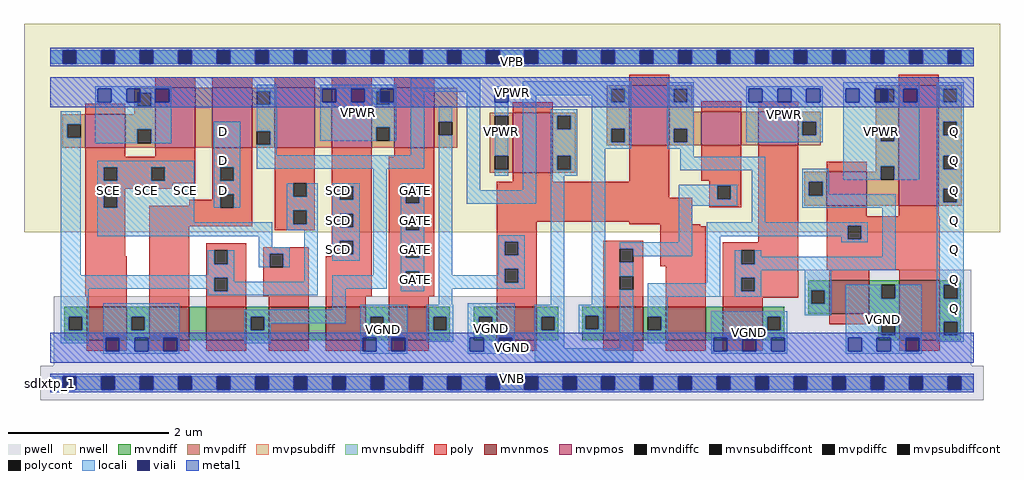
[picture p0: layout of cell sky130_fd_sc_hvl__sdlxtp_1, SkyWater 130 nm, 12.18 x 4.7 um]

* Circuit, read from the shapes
.subckt sky130_fd_sc_hvl__sdlxtp_1 D GATE SCD SCE VGND VNB VPB VPWR Q
XM1 VGND SCE n1 VNB sky130_fd_pr__nfet_g5v0d10v5 w=0.42 l=0.5
XM2 n2 D VGND VNB sky130_fd_pr__nfet_g5v0d10v5 w=0.42 l=0.5
XM3 n3 n1 n2 VNB sky130_fd_pr__nfet_g5v0d10v5 w=0.42 l=0.5
XM4 n4 SCE n3 VNB sky130_fd_pr__nfet_g5v0d10v5 w=0.42 l=0.5
XM5 VGND SCD n4 VNB sky130_fd_pr__nfet_g5v0d10v5 w=0.42 l=0.5
XM6 n5 GATE VGND VNB sky130_fd_pr__nfet_g5v0d10v5 w=0.42 l=0.5
XM7 n6 n5 VGND VNB sky130_fd_pr__nfet_g5v0d10v5 w=0.42 l=0.5
XM8 n7 n6 n3 VNB sky130_fd_pr__nfet_g5v0d10v5 w=0.42 l=0.5
XM9 n8 n5 n7 VNB sky130_fd_pr__nfet_g5v0d10v5 w=0.42 l=0.5
XM10 VGND n9 n8 VNB sky130_fd_pr__nfet_g5v0d10v5 w=0.42 l=0.5
XM11 VGND n7 n9 VNB sky130_fd_pr__nfet_g5v0d10v5 w=0.42 l=0.5
XM12 Q n7 VGND VNB sky130_fd_pr__nfet_g5v0d10v5 w=0.75 l=0.5
XM13 VPWR SCE n1 VPB sky130_fd_pr__pfet_g5v0d10v5 w=0.42 l=0.5
XM14 n10 SCE VPWR VPB sky130_fd_pr__pfet_g5v0d10v5 w=0.75 l=0.5
XM15 n3 D n10 VPB sky130_fd_pr__pfet_g5v0d10v5 w=0.75 l=0.5
XM16 n11 n1 n3 VPB sky130_fd_pr__pfet_g5v0d10v5 w=0.75 l=0.5
XM17 VPWR SCD n11 VPB sky130_fd_pr__pfet_g5v0d10v5 w=0.75 l=0.5
XM18 n5 GATE VPWR VPB sky130_fd_pr__pfet_g5v0d10v5 w=0.75 l=0.5
XM19 n6 n5 VPWR VPB sky130_fd_pr__pfet_g5v0d10v5 w=0.75 l=0.5
XM20 n7 n5 n3 VPB sky130_fd_pr__pfet_g5v0d10v5 w=0.75 l=0.5
XM21 n12 n6 n7 VPB sky130_fd_pr__pfet_g5v0d10v5 w=0.42 l=0.5
XM22 VPWR n9 n12 VPB sky130_fd_pr__pfet_g5v0d10v5 w=0.42 l=0.5
XM23 VPWR n7 n9 VPB sky130_fd_pr__pfet_g5v0d10v5 w=0.42 l=0.5
XM24 Q n7 VPWR VPB sky130_fd_pr__pfet_g5v0d10v5 w=1.5 l=0.5
.ends

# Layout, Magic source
magic
tech sky130A
magscale 1 2
<< nwell >>
rect -66 377 2370 897
<< pwell >>
rect 1865 217 2298 283
rect 8 43 2298 217
rect -26 -43 2330 43
<< mvnmos >>
rect 91 107 191 191
rect 247 107 347 191
rect 389 107 489 191
rect 545 107 645 191
rect 687 107 787 191
rect 844 107 944 191
rect 1114 107 1214 191
rect 1380 107 1480 191
rect 1536 107 1636 191
rect 1678 107 1778 191
rect 1944 173 2044 257
rect 2119 107 2219 257
<< mvpmos >>
rect 87 587 187 671
rect 262 587 362 737
rect 404 587 504 737
rect 560 587 660 737
rect 702 587 802 737
rect 858 587 958 737
rect 1154 525 1254 675
rect 1445 593 1545 743
rect 1624 593 1724 677
rect 1766 593 1866 677
rect 1938 443 2038 527
rect 2117 443 2217 743
<< mvndiff >>
rect 1891 232 1944 257
rect 1891 198 1899 232
rect 1933 198 1944 232
rect 34 166 91 191
rect 34 132 46 166
rect 80 132 91 166
rect 34 107 91 132
rect 191 166 247 191
rect 191 132 202 166
rect 236 132 247 166
rect 191 107 247 132
rect 347 107 389 191
rect 489 166 545 191
rect 489 132 500 166
rect 534 132 545 166
rect 489 107 545 132
rect 645 107 687 191
rect 787 166 844 191
rect 787 132 798 166
rect 832 132 844 166
rect 787 107 844 132
rect 944 166 997 191
rect 944 132 955 166
rect 989 132 997 166
rect 944 107 997 132
rect 1057 166 1114 191
rect 1057 132 1069 166
rect 1103 132 1114 166
rect 1057 107 1114 132
rect 1214 166 1267 191
rect 1214 132 1225 166
rect 1259 132 1267 166
rect 1214 107 1267 132
rect 1327 168 1380 191
rect 1327 134 1335 168
rect 1369 134 1380 168
rect 1327 107 1380 134
rect 1480 166 1536 191
rect 1480 132 1491 166
rect 1525 132 1536 166
rect 1480 107 1536 132
rect 1636 107 1678 191
rect 1778 166 1831 191
rect 1891 173 1944 198
rect 2044 245 2119 257
rect 2044 211 2074 245
rect 2108 211 2119 245
rect 2044 173 2119 211
rect 1778 132 1789 166
rect 1823 132 1831 166
rect 2066 153 2119 173
rect 1778 107 1831 132
rect 2066 119 2074 153
rect 2108 119 2119 153
rect 2066 107 2119 119
rect 2219 245 2272 257
rect 2219 211 2230 245
rect 2264 211 2272 245
rect 2219 153 2272 211
rect 2219 119 2230 153
rect 2264 119 2272 153
rect 2219 107 2272 119
<< mvpdiff >>
rect 209 725 262 737
rect 209 691 217 725
rect 251 691 262 725
rect 209 671 262 691
rect 30 646 87 671
rect 30 612 42 646
rect 76 612 87 646
rect 30 587 87 612
rect 187 633 262 671
rect 187 599 217 633
rect 251 599 262 633
rect 187 587 262 599
rect 362 587 404 737
rect 504 729 560 737
rect 504 695 515 729
rect 549 695 560 729
rect 504 629 560 695
rect 504 595 515 629
rect 549 595 560 629
rect 504 587 560 595
rect 660 587 702 737
rect 802 729 858 737
rect 802 695 813 729
rect 847 695 858 729
rect 802 639 858 695
rect 802 605 813 639
rect 847 605 858 639
rect 802 587 858 605
rect 958 652 1015 737
rect 1388 735 1445 743
rect 1388 701 1400 735
rect 1434 701 1445 735
rect 958 618 969 652
rect 1003 618 1015 652
rect 958 587 1015 618
rect 1097 667 1154 675
rect 1097 633 1109 667
rect 1143 633 1154 667
rect 1097 567 1154 633
rect 1097 533 1109 567
rect 1143 533 1154 567
rect 1097 525 1154 533
rect 1254 667 1311 675
rect 1254 633 1265 667
rect 1299 633 1311 667
rect 1254 567 1311 633
rect 1388 635 1445 701
rect 1388 601 1400 635
rect 1434 601 1445 635
rect 1388 593 1445 601
rect 1545 735 1602 743
rect 1545 701 1556 735
rect 1590 701 1602 735
rect 2060 735 2117 743
rect 1545 677 1602 701
rect 2060 701 2072 735
rect 2106 701 2117 735
rect 1545 635 1624 677
rect 1545 601 1556 635
rect 1590 601 1624 635
rect 1545 593 1624 601
rect 1724 593 1766 677
rect 1866 652 1923 677
rect 1866 618 1877 652
rect 1911 618 1923 652
rect 1866 593 1923 618
rect 2060 638 2117 701
rect 2060 604 2072 638
rect 2106 604 2117 638
rect 1254 533 1265 567
rect 1299 533 1311 567
rect 1254 525 1311 533
rect 2060 541 2117 604
rect 2060 527 2072 541
rect 1881 502 1938 527
rect 1881 468 1893 502
rect 1927 468 1938 502
rect 1881 443 1938 468
rect 2038 507 2072 527
rect 2106 507 2117 541
rect 2038 443 2117 507
rect 2217 735 2274 743
rect 2217 701 2228 735
rect 2262 701 2274 735
rect 2217 652 2274 701
rect 2217 618 2228 652
rect 2262 618 2274 652
rect 2217 568 2274 618
rect 2217 534 2228 568
rect 2262 534 2274 568
rect 2217 485 2274 534
rect 2217 451 2228 485
rect 2262 451 2274 485
rect 2217 443 2274 451
<< mvndiffc >>
rect 1899 198 1933 232
rect 46 132 80 166
rect 202 132 236 166
rect 500 132 534 166
rect 798 132 832 166
rect 955 132 989 166
rect 1069 132 1103 166
rect 1225 132 1259 166
rect 1335 134 1369 168
rect 1491 132 1525 166
rect 2074 211 2108 245
rect 1789 132 1823 166
rect 2074 119 2108 153
rect 2230 211 2264 245
rect 2230 119 2264 153
<< mvpdiffc >>
rect 217 691 251 725
rect 42 612 76 646
rect 217 599 251 633
rect 515 695 549 729
rect 515 595 549 629
rect 813 695 847 729
rect 813 605 847 639
rect 1400 701 1434 735
rect 969 618 1003 652
rect 1109 633 1143 667
rect 1109 533 1143 567
rect 1265 633 1299 667
rect 1400 601 1434 635
rect 1556 701 1590 735
rect 2072 701 2106 735
rect 1556 601 1590 635
rect 1877 618 1911 652
rect 2072 604 2106 638
rect 1265 533 1299 567
rect 1893 468 1927 502
rect 2072 507 2106 541
rect 2228 701 2262 735
rect 2228 618 2262 652
rect 2228 534 2262 568
rect 2228 451 2262 485
<< mvpsubdiff >>
rect 0 -17 31 17
rect 65 -17 127 17
rect 161 -17 223 17
rect 257 -17 319 17
rect 353 -17 415 17
rect 449 -17 511 17
rect 545 -17 607 17
rect 641 -17 703 17
rect 737 -17 799 17
rect 833 -17 895 17
rect 929 -17 991 17
rect 1025 -17 1087 17
rect 1121 -17 1183 17
rect 1217 -17 1279 17
rect 1313 -17 1375 17
rect 1409 -17 1471 17
rect 1505 -17 1567 17
rect 1601 -17 1663 17
rect 1697 -17 1759 17
rect 1793 -17 1855 17
rect 1889 -17 1951 17
rect 1985 -17 2047 17
rect 2081 -17 2143 17
rect 2177 -17 2239 17
rect 2273 -17 2304 17
<< mvnsubdiff >>
rect 0 797 31 831
rect 65 797 127 831
rect 161 797 223 831
rect 257 797 319 831
rect 353 797 415 831
rect 449 797 511 831
rect 545 797 607 831
rect 641 797 703 831
rect 737 797 799 831
rect 833 797 895 831
rect 929 797 991 831
rect 1025 797 1087 831
rect 1121 797 1183 831
rect 1217 797 1279 831
rect 1313 797 1375 831
rect 1409 797 1471 831
rect 1505 797 1567 831
rect 1601 797 1663 831
rect 1697 797 1759 831
rect 1793 797 1855 831
rect 1889 797 1951 831
rect 1985 797 2047 831
rect 2081 797 2143 831
rect 2177 797 2239 831
rect 2273 797 2304 831
<< mvpsubdiffcont >>
rect 31 -17 65 17
rect 127 -17 161 17
rect 223 -17 257 17
rect 319 -17 353 17
rect 415 -17 449 17
rect 511 -17 545 17
rect 607 -17 641 17
rect 703 -17 737 17
rect 799 -17 833 17
rect 895 -17 929 17
rect 991 -17 1025 17
rect 1087 -17 1121 17
rect 1183 -17 1217 17
rect 1279 -17 1313 17
rect 1375 -17 1409 17
rect 1471 -17 1505 17
rect 1567 -17 1601 17
rect 1663 -17 1697 17
rect 1759 -17 1793 17
rect 1855 -17 1889 17
rect 1951 -17 1985 17
rect 2047 -17 2081 17
rect 2143 -17 2177 17
rect 2239 -17 2273 17
<< mvnsubdiffcont >>
rect 31 797 65 831
rect 127 797 161 831
rect 223 797 257 831
rect 319 797 353 831
rect 415 797 449 831
rect 511 797 545 831
rect 607 797 641 831
rect 703 797 737 831
rect 799 797 833 831
rect 895 797 929 831
rect 991 797 1025 831
rect 1087 797 1121 831
rect 1183 797 1217 831
rect 1279 797 1313 831
rect 1375 797 1409 831
rect 1471 797 1505 831
rect 1567 797 1601 831
rect 1663 797 1697 831
rect 1759 797 1793 831
rect 1855 797 1889 831
rect 1951 797 1985 831
rect 2047 797 2081 831
rect 2143 797 2177 831
rect 2239 797 2273 831
<< poly >>
rect 262 737 362 763
rect 404 737 504 763
rect 560 737 660 763
rect 702 737 802 763
rect 858 737 958 763
rect 1445 743 1545 769
rect 2117 743 2217 769
rect 87 671 187 697
rect 1154 675 1254 701
rect 87 565 187 587
rect 262 565 362 587
rect 87 539 362 565
rect 87 505 133 539
rect 167 505 251 539
rect 285 505 362 539
rect 87 499 362 505
rect 404 539 504 587
rect 404 505 424 539
rect 458 505 504 539
rect 87 485 305 499
rect 87 471 187 485
rect 87 437 133 471
rect 167 437 187 471
rect 404 471 504 505
rect 404 457 424 471
rect 347 443 424 457
rect 87 317 187 437
rect 247 437 424 443
rect 458 437 504 471
rect 247 391 504 437
rect 560 499 660 587
rect 560 465 606 499
rect 640 465 660 499
rect 560 431 660 465
rect 560 397 606 431
rect 640 397 660 431
rect 87 217 191 317
rect 91 191 191 217
rect 247 191 347 391
rect 560 381 660 397
rect 702 491 802 587
rect 858 565 958 587
rect 702 457 722 491
rect 756 457 802 491
rect 702 423 802 457
rect 702 389 722 423
rect 756 389 802 423
rect 702 355 802 389
rect 389 331 489 349
rect 389 297 409 331
rect 443 297 489 331
rect 389 263 489 297
rect 389 229 409 263
rect 443 229 489 263
rect 389 191 489 229
rect 531 323 645 339
rect 531 289 547 323
rect 581 289 645 323
rect 702 321 722 355
rect 756 321 802 355
rect 702 317 802 321
rect 531 217 645 289
rect 545 191 645 217
rect 687 217 802 317
rect 844 483 958 565
rect 1624 677 1724 703
rect 1766 677 1866 703
rect 1154 503 1254 525
rect 1445 503 1545 593
rect 1624 505 1724 593
rect 844 449 887 483
rect 921 449 958 483
rect 844 415 958 449
rect 844 381 887 415
rect 921 381 958 415
rect 844 347 958 381
rect 844 313 887 347
rect 921 313 958 347
rect 844 279 958 313
rect 844 245 887 279
rect 921 245 958 279
rect 844 217 958 245
rect 1114 463 1545 503
rect 1644 493 1724 505
rect 1114 403 1602 463
rect 1644 459 1664 493
rect 1698 459 1724 493
rect 1644 439 1724 459
rect 1114 353 1214 403
rect 1445 397 1602 403
rect 1522 391 1622 397
rect 1114 319 1134 353
rect 1168 319 1214 353
rect 1114 285 1214 319
rect 1114 251 1134 285
rect 1168 251 1214 285
rect 687 191 787 217
rect 844 191 944 217
rect 1114 191 1214 251
rect 1380 335 1480 355
rect 1380 301 1421 335
rect 1455 301 1480 335
rect 1380 267 1480 301
rect 1522 291 1636 391
rect 1766 351 1866 593
rect 1938 527 2038 553
rect 1380 233 1421 267
rect 1455 233 1480 267
rect 1380 191 1480 233
rect 1536 191 1636 291
rect 1678 331 1866 351
rect 1678 297 1724 331
rect 1758 297 1866 331
rect 1678 263 1866 297
rect 1938 417 2038 443
rect 2117 417 2217 443
rect 1938 393 2219 417
rect 1938 359 1990 393
rect 2024 359 2219 393
rect 1938 283 2219 359
rect 1678 229 1724 263
rect 1758 229 1866 263
rect 1944 257 2044 283
rect 2119 257 2219 283
rect 1678 213 1866 229
rect 1678 191 1778 213
rect 1944 147 2044 173
rect 91 81 191 107
rect 247 81 347 107
rect 389 81 489 107
rect 545 81 645 107
rect 687 81 787 107
rect 844 81 944 107
rect 1114 81 1214 107
rect 1380 81 1480 107
rect 1536 81 1636 107
rect 1678 81 1778 107
rect 2119 81 2219 107
<< polycont >>
rect 133 505 167 539
rect 251 505 285 539
rect 424 505 458 539
rect 133 437 167 471
rect 424 437 458 471
rect 606 465 640 499
rect 606 397 640 431
rect 722 457 756 491
rect 722 389 756 423
rect 409 297 443 331
rect 409 229 443 263
rect 547 289 581 323
rect 722 321 756 355
rect 887 449 921 483
rect 887 381 921 415
rect 887 313 921 347
rect 887 245 921 279
rect 1664 459 1698 493
rect 1134 319 1168 353
rect 1134 251 1168 285
rect 1421 301 1455 335
rect 1421 233 1455 267
rect 1724 297 1758 331
rect 1990 359 2024 393
rect 1724 229 1758 263
<< locali >>
rect 0 797 31 831
rect 65 797 127 831
rect 161 797 223 831
rect 257 797 319 831
rect 353 797 415 831
rect 449 797 511 831
rect 545 797 607 831
rect 641 797 703 831
rect 737 797 799 831
rect 833 797 895 831
rect 929 797 991 831
rect 1025 797 1087 831
rect 1121 797 1183 831
rect 1217 797 1279 831
rect 1313 797 1375 831
rect 1409 797 1471 831
rect 1505 797 1567 831
rect 1601 797 1663 831
rect 1697 797 1759 831
rect 1793 797 1855 831
rect 1889 797 1951 831
rect 1985 797 2047 831
rect 2081 797 2143 831
rect 2177 797 2239 831
rect 2273 797 2304 831
rect 112 735 302 741
rect 112 701 118 735
rect 152 701 190 735
rect 224 725 262 735
rect 251 701 262 725
rect 296 701 302 735
rect 112 691 217 701
rect 251 691 302 701
rect 26 646 76 679
rect 26 612 42 646
rect 26 269 76 612
rect 112 633 302 691
rect 515 729 565 745
rect 549 695 565 729
rect 112 599 217 633
rect 251 599 302 633
rect 117 539 359 555
rect 117 505 133 539
rect 167 505 251 539
rect 285 505 359 539
rect 117 471 359 505
rect 117 437 133 471
rect 167 437 359 471
rect 408 539 474 652
rect 408 505 424 539
rect 458 505 474 539
rect 515 629 565 695
rect 549 595 565 629
rect 673 735 863 745
rect 673 701 679 735
rect 713 701 751 735
rect 785 729 823 735
rect 785 701 813 729
rect 857 701 863 735
rect 673 695 813 701
rect 847 695 863 701
rect 673 639 863 695
rect 673 605 813 639
rect 847 605 863 639
rect 899 727 1073 761
rect 515 569 565 595
rect 899 569 933 727
rect 515 535 933 569
rect 969 652 1003 691
rect 408 471 474 505
rect 408 437 424 471
rect 458 437 474 471
rect 590 465 606 499
rect 640 465 667 499
rect 117 401 359 437
rect 590 431 667 465
rect 117 367 554 401
rect 590 397 606 431
rect 640 397 667 431
rect 590 381 667 397
rect 520 339 554 367
rect 393 297 409 331
rect 443 297 459 331
rect 393 269 459 297
rect 520 323 597 339
rect 520 289 547 323
rect 581 289 597 323
rect 26 263 459 269
rect 26 235 409 263
rect 26 166 96 235
rect 393 229 409 235
rect 443 253 459 263
rect 633 253 667 381
rect 703 491 772 499
rect 703 457 722 491
rect 756 457 772 491
rect 703 423 772 457
rect 703 389 722 423
rect 756 389 772 423
rect 703 355 772 389
rect 703 321 722 355
rect 756 321 772 355
rect 703 305 772 321
rect 806 269 840 535
rect 443 229 667 253
rect 393 219 667 229
rect 703 235 840 269
rect 874 483 933 499
rect 874 449 887 483
rect 921 449 933 483
rect 874 415 933 449
rect 874 381 887 415
rect 921 381 933 415
rect 874 347 933 381
rect 874 313 887 347
rect 921 313 933 347
rect 874 279 933 313
rect 874 245 887 279
rect 921 245 933 279
rect 26 132 46 166
rect 80 132 96 166
rect 26 99 96 132
rect 132 166 322 199
rect 703 183 737 235
rect 874 229 933 245
rect 969 269 1003 618
rect 1039 481 1073 727
rect 1109 735 1143 741
rect 1109 667 1143 701
rect 1109 567 1143 633
rect 1109 517 1143 533
rect 1179 735 1450 753
rect 1179 719 1400 735
rect 1179 481 1213 719
rect 1351 701 1400 719
rect 1434 701 1450 735
rect 1039 447 1213 481
rect 1249 667 1315 683
rect 1249 633 1265 667
rect 1299 633 1315 667
rect 1249 567 1315 633
rect 1249 533 1265 567
rect 1299 533 1315 567
rect 1249 517 1315 533
rect 1351 635 1450 701
rect 1351 601 1400 635
rect 1434 601 1450 635
rect 1351 585 1450 601
rect 1540 735 1606 751
rect 1540 701 1556 735
rect 1590 701 1606 735
rect 1540 635 1606 701
rect 1540 601 1556 635
rect 1590 601 1606 635
rect 1737 735 1927 741
rect 1737 701 1743 735
rect 1777 701 1815 735
rect 1849 701 1887 735
rect 1921 701 1927 735
rect 1737 652 1927 701
rect 1737 618 1877 652
rect 1911 618 1927 652
rect 1737 601 1927 618
rect 1979 735 2169 751
rect 1979 701 1985 735
rect 2019 701 2057 735
rect 2106 701 2129 735
rect 2163 701 2169 735
rect 1979 638 2169 701
rect 1979 604 2072 638
rect 2106 604 2169 638
rect 1540 585 1606 601
rect 1118 353 1184 369
rect 1118 319 1134 353
rect 1168 319 1184 353
rect 1118 285 1184 319
rect 1118 269 1134 285
rect 969 251 1134 269
rect 1168 251 1184 285
rect 969 235 1184 251
rect 969 195 1003 235
rect 132 132 202 166
rect 236 132 322 166
rect 132 113 322 132
rect 132 79 138 113
rect 172 79 210 113
rect 244 79 282 113
rect 316 79 322 113
rect 484 166 737 183
rect 484 132 500 166
rect 534 149 737 166
rect 773 166 891 195
rect 534 132 550 149
rect 484 99 550 132
rect 773 132 798 166
rect 832 132 891 166
rect 773 113 891 132
rect 132 73 322 79
rect 773 79 779 113
rect 813 79 851 113
rect 885 79 891 113
rect 939 166 1005 195
rect 939 132 955 166
rect 989 132 1005 166
rect 939 103 1005 132
rect 1041 166 1159 199
rect 1249 195 1283 517
rect 1351 195 1385 585
rect 1572 565 1606 585
rect 1572 531 1784 565
rect 1979 541 2169 604
rect 1568 493 1714 495
rect 1568 459 1664 493
rect 1698 459 1714 493
rect 1568 443 1714 459
rect 1568 351 1602 443
rect 1750 401 1784 531
rect 1877 502 1943 535
rect 1979 507 2072 541
rect 2106 507 2169 541
rect 2212 735 2280 751
rect 2212 701 2228 735
rect 2262 701 2280 735
rect 2212 652 2280 701
rect 2212 618 2228 652
rect 2262 618 2280 652
rect 2212 568 2280 618
rect 2212 534 2228 568
rect 2262 534 2280 568
rect 1877 468 1893 502
rect 1927 471 1943 502
rect 2212 485 2280 534
rect 1927 468 2110 471
rect 1877 437 2110 468
rect 1041 132 1069 166
rect 1103 132 1159 166
rect 1041 113 1159 132
rect 773 73 891 79
rect 1041 79 1047 113
rect 1081 79 1119 113
rect 1153 79 1159 113
rect 1041 73 1159 79
rect 1209 166 1283 195
rect 1209 132 1225 166
rect 1259 132 1283 166
rect 1209 87 1283 132
rect 1319 168 1385 195
rect 1319 134 1335 168
rect 1369 134 1385 168
rect 1319 123 1385 134
rect 1421 335 1602 351
rect 1455 317 1602 335
rect 1638 393 2040 401
rect 1638 367 1990 393
rect 1421 267 1455 301
rect 1638 249 1672 367
rect 1974 359 1990 367
rect 2024 359 2040 393
rect 1974 351 2040 359
rect 1421 87 1455 233
rect 1491 215 1672 249
rect 1708 297 1724 331
rect 1758 315 1774 331
rect 2076 315 2110 437
rect 1758 297 2110 315
rect 1708 281 2110 297
rect 2212 451 2228 485
rect 2262 451 2280 485
rect 1708 263 1774 281
rect 1708 229 1724 263
rect 1758 229 1774 263
rect 1708 215 1774 229
rect 1883 232 1949 281
rect 2212 245 2280 451
rect 1491 166 1541 215
rect 1883 198 1899 232
rect 1933 198 1949 232
rect 1525 132 1541 166
rect 1491 99 1541 132
rect 1649 166 1839 179
rect 1883 169 1949 198
rect 1985 211 2074 245
rect 2108 211 2175 245
rect 1649 132 1789 166
rect 1823 132 1839 166
rect 1649 113 1839 132
rect 1209 53 1455 87
rect 1649 79 1655 113
rect 1689 79 1727 113
rect 1761 79 1799 113
rect 1833 79 1839 113
rect 1649 73 1839 79
rect 1985 153 2175 211
rect 1985 119 2074 153
rect 2108 119 2175 153
rect 1985 113 2175 119
rect 1985 79 1991 113
rect 2025 79 2063 113
rect 2097 79 2135 113
rect 2169 79 2175 113
rect 2212 211 2230 245
rect 2264 211 2280 245
rect 2212 153 2280 211
rect 2212 119 2230 153
rect 2264 119 2280 153
rect 2212 103 2280 119
rect 1985 73 2175 79
rect 0 -17 31 17
rect 65 -17 127 17
rect 161 -17 223 17
rect 257 -17 319 17
rect 353 -17 415 17
rect 449 -17 511 17
rect 545 -17 607 17
rect 641 -17 703 17
rect 737 -17 799 17
rect 833 -17 895 17
rect 929 -17 991 17
rect 1025 -17 1087 17
rect 1121 -17 1183 17
rect 1217 -17 1279 17
rect 1313 -17 1375 17
rect 1409 -17 1471 17
rect 1505 -17 1567 17
rect 1601 -17 1663 17
rect 1697 -17 1759 17
rect 1793 -17 1855 17
rect 1889 -17 1951 17
rect 1985 -17 2047 17
rect 2081 -17 2143 17
rect 2177 -17 2239 17
rect 2273 -17 2304 17
<< viali >>
rect 31 797 65 831
rect 127 797 161 831
rect 223 797 257 831
rect 319 797 353 831
rect 415 797 449 831
rect 511 797 545 831
rect 607 797 641 831
rect 703 797 737 831
rect 799 797 833 831
rect 895 797 929 831
rect 991 797 1025 831
rect 1087 797 1121 831
rect 1183 797 1217 831
rect 1279 797 1313 831
rect 1375 797 1409 831
rect 1471 797 1505 831
rect 1567 797 1601 831
rect 1663 797 1697 831
rect 1759 797 1793 831
rect 1855 797 1889 831
rect 1951 797 1985 831
rect 2047 797 2081 831
rect 2143 797 2177 831
rect 2239 797 2273 831
rect 118 701 152 735
rect 190 725 224 735
rect 190 701 217 725
rect 217 701 224 725
rect 262 701 296 735
rect 679 701 713 735
rect 751 701 785 735
rect 823 729 857 735
rect 823 701 847 729
rect 847 701 857 729
rect 1109 701 1143 735
rect 1743 701 1777 735
rect 1815 701 1849 735
rect 1887 701 1921 735
rect 1985 701 2019 735
rect 2057 701 2072 735
rect 2072 701 2091 735
rect 2129 701 2163 735
rect 138 79 172 113
rect 210 79 244 113
rect 282 79 316 113
rect 779 79 813 113
rect 851 79 885 113
rect 1047 79 1081 113
rect 1119 79 1153 113
rect 1655 79 1689 113
rect 1727 79 1761 113
rect 1799 79 1833 113
rect 1991 79 2025 113
rect 2063 79 2097 113
rect 2135 79 2169 113
rect 31 -17 65 17
rect 127 -17 161 17
rect 223 -17 257 17
rect 319 -17 353 17
rect 415 -17 449 17
rect 511 -17 545 17
rect 607 -17 641 17
rect 703 -17 737 17
rect 799 -17 833 17
rect 895 -17 929 17
rect 991 -17 1025 17
rect 1087 -17 1121 17
rect 1183 -17 1217 17
rect 1279 -17 1313 17
rect 1375 -17 1409 17
rect 1471 -17 1505 17
rect 1567 -17 1601 17
rect 1663 -17 1697 17
rect 1759 -17 1793 17
rect 1855 -17 1889 17
rect 1951 -17 1985 17
rect 2047 -17 2081 17
rect 2143 -17 2177 17
rect 2239 -17 2273 17
<< metal1 >>
rect 0 831 2304 837
rect 0 797 31 831
rect 65 797 127 831
rect 161 797 223 831
rect 257 797 319 831
rect 353 797 415 831
rect 449 797 511 831
rect 545 797 607 831
rect 641 797 703 831
rect 737 797 799 831
rect 833 797 895 831
rect 929 797 991 831
rect 1025 797 1087 831
rect 1121 797 1183 831
rect 1217 797 1279 831
rect 1313 797 1375 831
rect 1409 797 1471 831
rect 1505 797 1567 831
rect 1601 797 1663 831
rect 1697 797 1759 831
rect 1793 797 1855 831
rect 1889 797 1951 831
rect 1985 797 2047 831
rect 2081 797 2143 831
rect 2177 797 2239 831
rect 2273 797 2304 831
rect 0 791 2304 797
rect 0 735 2304 763
rect 0 701 118 735
rect 152 701 190 735
rect 224 701 262 735
rect 296 701 679 735
rect 713 701 751 735
rect 785 701 823 735
rect 857 701 1109 735
rect 1143 701 1743 735
rect 1777 701 1815 735
rect 1849 701 1887 735
rect 1921 701 1985 735
rect 2019 701 2057 735
rect 2091 701 2129 735
rect 2163 701 2304 735
rect 0 689 2304 701
rect 0 113 2304 125
rect 0 79 138 113
rect 172 79 210 113
rect 244 79 282 113
rect 316 79 779 113
rect 813 79 851 113
rect 885 79 1047 113
rect 1081 79 1119 113
rect 1153 79 1655 113
rect 1689 79 1727 113
rect 1761 79 1799 113
rect 1833 79 1991 113
rect 2025 79 2063 113
rect 2097 79 2135 113
rect 2169 79 2304 113
rect 0 51 2304 79
rect 0 17 2304 23
rect 0 -17 31 17
rect 65 -17 127 17
rect 161 -17 223 17
rect 257 -17 319 17
rect 353 -17 415 17
rect 449 -17 511 17
rect 545 -17 607 17
rect 641 -17 703 17
rect 737 -17 799 17
rect 833 -17 895 17
rect 929 -17 991 17
rect 1025 -17 1087 17
rect 1121 -17 1183 17
rect 1217 -17 1279 17
rect 1313 -17 1375 17
rect 1409 -17 1471 17
rect 1505 -17 1567 17
rect 1601 -17 1663 17
rect 1697 -17 1759 17
rect 1793 -17 1855 17
rect 1889 -17 1951 17
rect 1985 -17 2047 17
rect 2081 -17 2143 17
rect 2177 -17 2239 17
rect 2273 -17 2304 17
rect 0 -23 2304 -17
<< labels >>
rlabel comment s 0 0 0 0 4 sdlxtp_1
flabel metal1 s 0 51 2304 125 0 FreeSans 340 0 0 0 VGND
port 5 nsew ground bidirectional
flabel metal1 s 0 0 2304 23 0 FreeSans 340 0 0 0 VNB
port 6 nsew ground bidirectional
flabel metal1 s 0 689 2304 763 0 FreeSans 340 0 0 0 VPWR
port 8 nsew power bidirectional
flabel metal1 s 0 791 2304 814 0 FreeSans 340 0 0 0 VPB
port 7 nsew power bidirectional
flabel locali s 415 464 449 498 0 FreeSans 340 0 0 0 D
port 1 nsew signal input
flabel locali s 415 538 449 572 0 FreeSans 340 0 0 0 D
port 1 nsew signal input
flabel locali s 415 612 449 646 0 FreeSans 340 0 0 0 D
port 1 nsew signal input
flabel locali s 127 464 161 498 0 FreeSans 340 0 0 0 SCE
port 4 nsew signal input
flabel locali s 223 464 257 498 0 FreeSans 340 0 0 0 SCE
port 4 nsew signal input
flabel locali s 319 464 353 498 0 FreeSans 340 0 0 0 SCE
port 4 nsew signal input
flabel locali s 703 316 737 350 0 FreeSans 340 0 0 0 SCD
port 3 nsew signal input
flabel locali s 703 390 737 424 0 FreeSans 340 0 0 0 SCD
port 3 nsew signal input
flabel locali s 703 464 737 498 0 FreeSans 340 0 0 0 SCD
port 3 nsew signal input
flabel locali s 895 242 929 276 0 FreeSans 340 0 0 0 GATE
port 2 nsew clock input
flabel locali s 895 316 929 350 0 FreeSans 340 0 0 0 GATE
port 2 nsew clock input
flabel locali s 895 390 929 424 0 FreeSans 340 0 0 0 GATE
port 2 nsew clock input
flabel locali s 895 464 929 498 0 FreeSans 340 0 0 0 GATE
port 2 nsew clock input
flabel locali s 2239 168 2273 202 0 FreeSans 340 0 0 0 Q
port 9 nsew signal output
flabel locali s 2239 242 2273 276 0 FreeSans 340 0 0 0 Q
port 9 nsew signal output
flabel locali s 2239 316 2273 350 0 FreeSans 340 0 0 0 Q
port 9 nsew signal output
flabel locali s 2239 390 2273 424 0 FreeSans 340 0 0 0 Q
port 9 nsew signal output
flabel locali s 2239 464 2273 498 0 FreeSans 340 0 0 0 Q
port 9 nsew signal output
flabel locali s 2239 538 2273 572 0 FreeSans 340 0 0 0 Q
port 9 nsew signal output
flabel locali s 2239 612 2273 646 0 FreeSans 340 0 0 0 Q
port 9 nsew signal output
rlabel locali s 773 73 891 195 1 VGND
port 5 nsew ground bidirectional
rlabel locali s 1041 73 1159 199 1 VGND
port 5 nsew ground bidirectional
rlabel locali s 1649 73 1839 179 1 VGND
port 5 nsew ground bidirectional
rlabel locali s 1985 73 2175 245 1 VGND
port 5 nsew ground bidirectional
rlabel metal1 s 0 51 2304 125 1 VGND
port 5 nsew ground bidirectional
rlabel metal1 s 0 -23 2304 23 1 VNB
port 6 nsew ground bidirectional
rlabel metal1 s 0 791 2304 837 1 VPB
port 7 nsew power bidirectional
rlabel locali s 673 605 863 745 1 VPWR
port 8 nsew power bidirectional
rlabel locali s 1109 517 1143 741 1 VPWR
port 8 nsew power bidirectional
rlabel locali s 1737 601 1927 741 1 VPWR
port 8 nsew power bidirectional
rlabel locali s 1979 507 2169 751 1 VPWR
port 8 nsew power bidirectional
rlabel metal1 s 0 689 2304 763 1 VPWR
port 8 nsew power bidirectional
<< properties >>
string FIXED_BBOX 0 0 2304 814
string GDS_END 719052
string GDS_FILE $PDKPATH/libs.ref/sky130_fd_sc_hvl/gds/sky130_fd_sc_hvl.gds
string GDS_START 695106
string LEFclass CORE
string LEFsite unithv
string LEFsymmetry X Y
<< end >>
